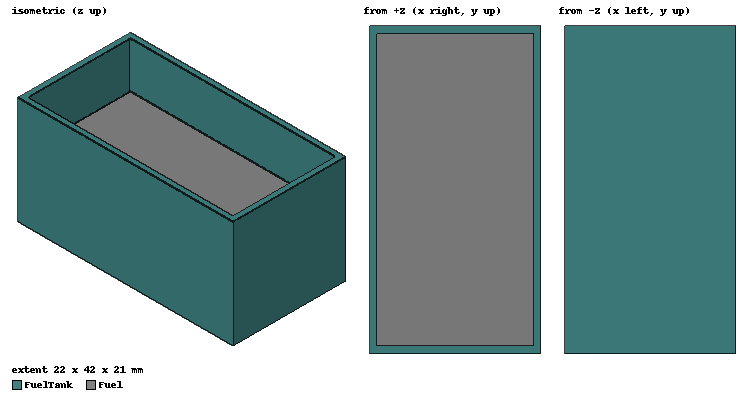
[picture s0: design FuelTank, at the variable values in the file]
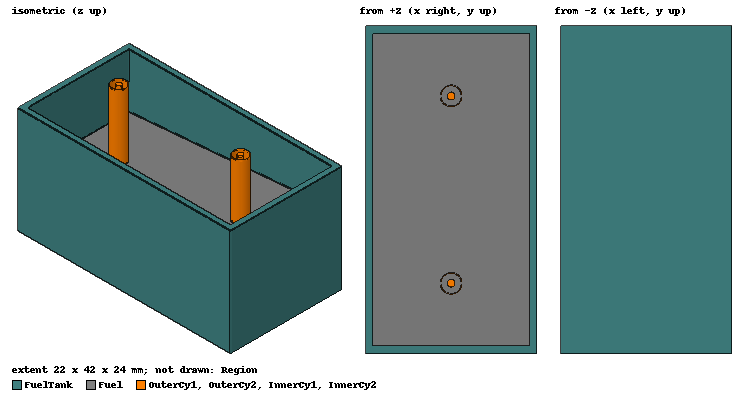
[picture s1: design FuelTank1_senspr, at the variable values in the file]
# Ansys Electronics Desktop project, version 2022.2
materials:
  JetFuel: permittivity=1.7 conductivity=1e-10
  steel_stainless: conductivity=1100000
  vacuum: permittivity=1
  copper: permeability=0.999991 conductivity=58000000
  Jet_Fuel

design FuelTank (Maxwell 3D, Electrostatic, model units mm)
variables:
  tank_W = 20mm
  tank_L = 40mm
  tank_H = 20mm
  TankThickness = 1mm
  inclination_angle = 0deg
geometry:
  Fuel [JetFuel] = box(corner=(-tank_W/2, - tank_L/2, -0.001), size=(tank_W, tank_L, tank_H))
  FuelTank [steel_stainless] = box(corner=(-(tank_W/2) - TankThickness, - (tank_L/2) - TankThickness, - 1e-3 - TankThickness), size=(tank_W + (TankThickness*2), tank_L + (TankThickness*2), tank_H + TankThickness))
  Fuel2 = box(corner=(-tank_W/2, - tank_L/2, -0.001), size=(tank_W, tank_L, tank_H))
  FuelTank.subtract(Fuel2)
  Fuel3 = box(corner=(-tank_W/2, - tank_L/2 - 10e-3, (tank_H/2)), size=(tank_W, tank_L + 20e-3, tank_H/2 + 50e-3))
  Fuel3.rotate(axis=X, angle=inclination_angle)
  Fuel.subtract(Fuel3)
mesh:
  initial mesh: GlobalCurvilinear{Apply}
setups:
  Setup1: Electrostatic MaximumPasses=10 MinimumPasses=1 MinimumConvergedPasses=1 PercentRefinement=30 PercentError=1 NonLinearResidual=0.001

design FuelTank1_senspr (Maxwell 3D, Electrostatic, model units mm)
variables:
  tank_W = 20mm
  tank_L = 40mm
  tank_H = 20mm
  TankThickness = 1mm
  inclination_angle = 5deg
  b = 1.3mm
  a = 0.5mm
  d = 12mm
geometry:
  Fuel [JetFuel] = box(corner=(-tank_W/2, - tank_L/2, -0.001), size=(tank_W, tank_L, tank_H))
  FuelTank [steel_stainless] = box(corner=(-(tank_W/2) - TankThickness, - (tank_L/2) - TankThickness, - 1e-3 - TankThickness), size=(tank_W + (TankThickness*2), tank_L + (TankThickness*2), tank_H + TankThickness))
  Fuel2 = box(corner=(-tank_W/2, - tank_L/2, -0.001), size=(tank_W, tank_L, tank_H))
  FuelTank.subtract(Fuel2)
  Fuel3 = box(corner=(-tank_W/2, - tank_L/2 - 10e-3, (tank_H/2)), size=(tank_W, tank_L + 20e-3, tank_H/2 + 50e-3))
  Fuel3.rotate(axis=X, angle=inclination_angle)
  Fuel.subtract(Fuel3)
  OuterCy1 [copper] = cylinder(axis=Z, base_centre=(0mm, 0mm, 0mm), radius=b+0.1e-3, height=22mm)
  OuterCySub = cylinder(axis=Z, base_centre=(0mm, 0mm, 0mm), radius=b, height=22mm)
  OuterCy1.subtract(OuterCySub)
  InnerCy1 [copper] = cylinder(axis=Z, base_centre=(0mm, 0mm, 0mm), radius=a, height=22mm)
  [InnerCy1, OuterCy1].move(0mm, d, 0mm)
  OuterCy2 [copper] = cylinder(axis=Z, base_centre=(0mm, 0mm, 0mm), radius=b+0.1e-3, height=22mm)
  OuterCySub1 = cylinder(axis=Z, base_centre=(0mm, 0mm, 0mm), radius=b, height=22mm)
  OuterCy2.subtract(OuterCySub1)
  OuterCy2.move(0mm, -d, 0mm)
  InnerCy2 [copper] = cylinder(axis=Z, base_centre=(0mm, 0mm, 0mm), radius=a, height=22mm)
  InnerCy2.move(0mm, -d, 0mm)
  InnerCy1_1 = InnerCy1.copy()
  InnerCy2_1 = InnerCy2.copy()
  OuterCy1_1 = OuterCy1.copy()
  OuterCy2_1 = OuterCy2.copy()
  Fuel.subtract(InnerCy1_1, InnerCy2_1, OuterCy1_1, OuterCy2_1)
  Region [vacuum] = region(percentage_offset=100 on all sides)
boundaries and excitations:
  inner1: Voltage Objects=InnerCy1 Voltage=10V
  Outer1: Voltage Objects=OuterCy1 Voltage=-10V
  Inner2: Voltage Objects=InnerCy2 Voltage=10V
  Outer2: Voltage Objects=OuterCy2 Voltage=-10V
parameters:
  Matrix1: Matrix inner1, Inner2, Outer1, Outer2: NumberOfTurns=1
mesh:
  initial mesh: GlobalCurvilinear{Apply}
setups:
  Setup1: Electrostatic MaximumPasses=10 MinimumPasses=1 MinimumConvergedPasses=1 PercentRefinement=30 PercentError=1 NonLinearResidual=0.001
